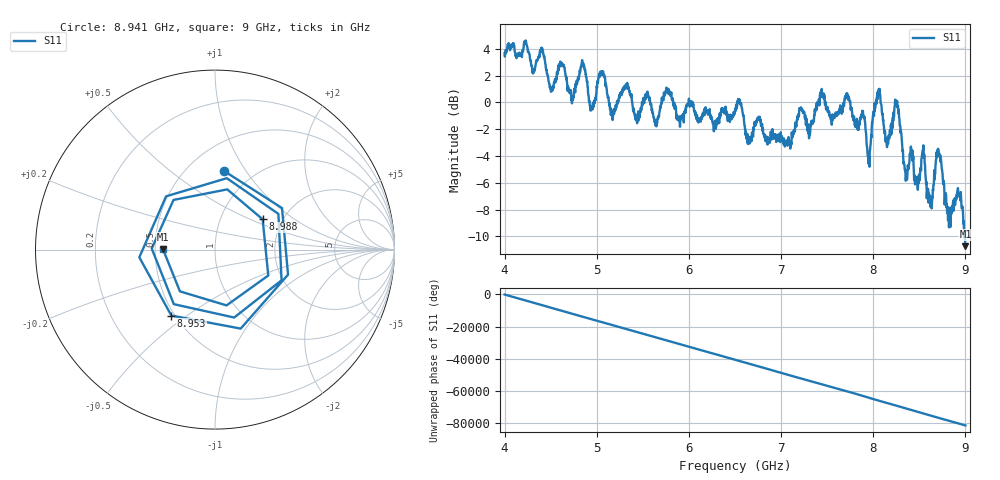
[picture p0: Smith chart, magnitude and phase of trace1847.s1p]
! Created with skrf 1.8.0 (http://scikit-rf.org).
# Hz S RI R 50.0
!freq ReS11 ImS11
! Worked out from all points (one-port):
!   1601 points, 4 GHz to 9 GHz, reference 50 ohm
!   lowest |S11| = -10.7 dB at 9 GHz (marker M1), VSWR 1.82, Z = 27.5 + j0.227 ohm
!   |S11| at or under -10 dB: 8.987739 GHz to 8.988343 GHz (603.9 kHz wide, 0.00672 % of centre); 8.994277 GHz to end of sweep
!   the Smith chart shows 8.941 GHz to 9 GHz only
!   S11 on the Smith chart (normalised r, x): 8.941 GHz: 0.74, +0.80; 8.953 GHz: 0.48, -0.44; 8.988 GHz: 1.59, +0.59; 9 GHz: 0.55, +0.00
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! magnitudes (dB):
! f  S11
! 4 GHz  3.7
! 4.406 GHz  4.0
! 4.506 GHz  0.8
! 4.625 GHz  2.9
! 4.725 GHz  0.2
! 4.85 GHz  2.8
! 4.941 GHz  -0.6
! 5.05 GHz  2.1
! 5.162 GHz  -1.0
! 5.25 GHz  0.5
! 5.875 GHz  -1.3
! 6.5 GHz  -0.7
! 7.125 GHz  -2.6
! 7.444 GHz  0.6
! 7.75 GHz  0.1
! 7.95 GHz  -4.2
! 8.05 GHz  0.8
! 8.153 GHz  -3.0
! 8.253 GHz  0.0
! 8.375 GHz  -4.7
! 8.538 GHz  -3.6
! 8.625 GHz  -7.3
! 8.709 GHz  -3.6
! 8.819 GHz  -8.2
! 8.941 GHz  -7.1
! 8.953 GHz  -7.1
! 8.988 GHz  -10.0
! 9 GHz  -10.7
